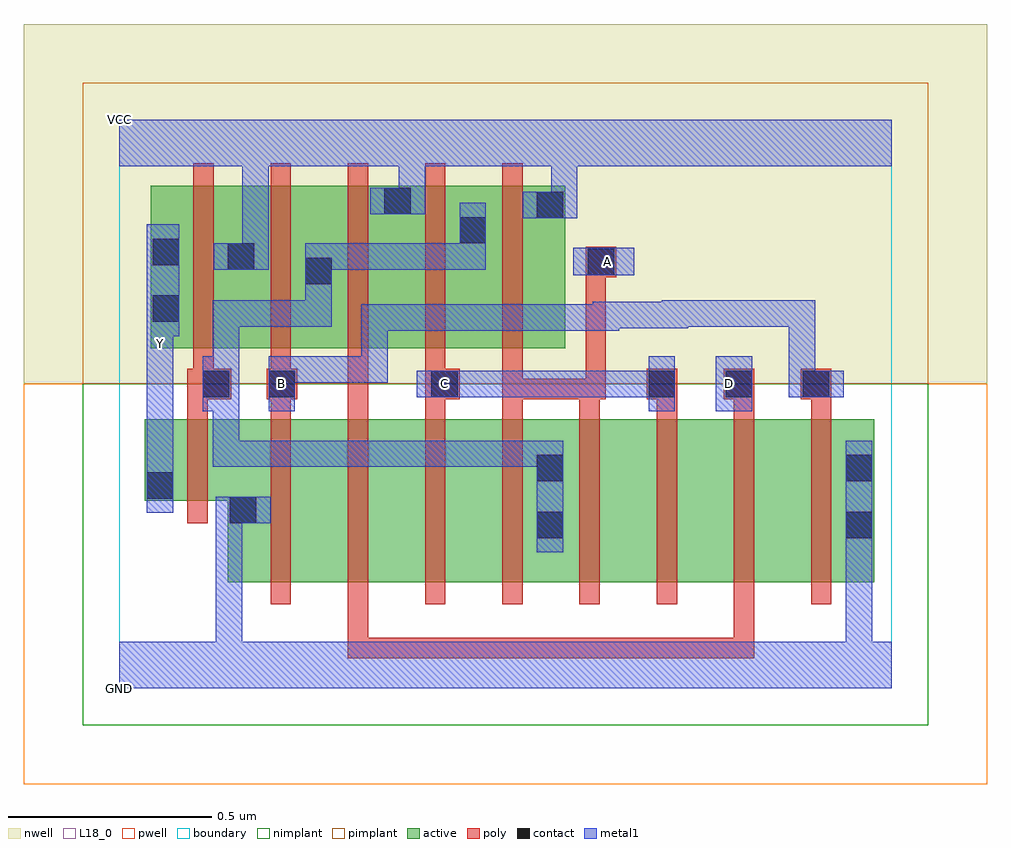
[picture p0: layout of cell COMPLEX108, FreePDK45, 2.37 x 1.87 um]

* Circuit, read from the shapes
.subckt COMPLEX108 A B C D GND VCC Y
M1 GND n1 Y VSUBS nfet w=0.2u l=0.05u
M2 n2 B GND VSUBS nfet w=0.4u l=0.05u
M3 n3 D n2 VSUBS nfet w=0.4u l=0.05u
M4 n4 C n3 VSUBS nfet w=0.4u l=0.05u
M5 n1 A n4 VSUBS nfet w=0.4u l=0.05u
M6 n5 A n1 VSUBS nfet w=0.4u l=0.05u
M7 n6 C n5 VSUBS nfet w=0.4u l=0.05u
M8 n7 D n6 VSUBS nfet w=0.4u l=0.05u
M9 GND B n7 VSUBS nfet w=0.4u l=0.05u
M10 VCC n1 Y n8 pfet w=0.4u l=0.05u
M11 n1 B VCC n8 pfet w=0.4u l=0.05u
M12 VCC D n1 n8 pfet w=0.4u l=0.05u
M13 n1 C VCC n8 pfet w=0.4u l=0.05u
M14 VCC A n1 n8 pfet w=0.4u l=0.05u
.ends

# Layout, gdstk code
import gdstk
lib = gdstk.Library(unit=1e-6, precision=1e-09)
def R(c, l, rs):  # rectangles x0, y0, x1, y1
    for r in rs: c.add(gdstk.rectangle(r[:2], r[2:], *l))
def A(c, l, x, y, w, h, nx, ny, dx, dy):  # array of equal rectangles
    R(c, l, [(x+i*dx, y+j*dy, x+i*dx+w, y+j*dy+h) for i in range(nx) for j in range(ny)])
active = (1, 0)
pwell = (2, 0)
nwell = (3, 0)
nimplant = (4, 0)
pimplant = (5, 0)
poly = (9, 0)
contact = (10, 0)
metal1 = (11, 0)
L18_0 = (18, 0)
boundary = (235, 0)

complex108 = lib.new_cell('COMPLEX108')
R(complex108, active, [(0.267,0.262,0.492,0.662), (0.267,0.262,0.342,0.597), (0.492,0.262,0.682,0.662), (0.682,0.262,0.872,0.662), (0.872,0.262,1.097,0.662), (1.022,0.262,1.252,0.662), (1.252,0.262,1.442,0.662), (1.442,0.262,1.632,0.662), (1.632,0.262,1.857,0.662), (1.022,0.295,1.097,0.617), (1.782,0.295,1.857,0.662), (0.062,0.462,0.342,0.662), (0.062,0.462,0.137,0.662), (0.077,0.837,0.337,1.237), (0.077,0.837,0.152,1.2), (0.262,0.837,0.527,1.237), (0.452,0.837,0.722,1.237), (0.452,0.837,0.527,1.2), (0.647,0.837,0.907,1.237), (0.832,0.837,1.097,1.237), (1.022,0.837,1.097,1.237), (0.262,0.907,0.337,1.205), (0.647,0.907,0.722,1.237), (0.832,0.907,0.907,1.2)])
R(complex108, pwell, [(-0.235,-0.235,2.135,0.75)])
R(complex108, nwell, [(-0.235,0.75,2.135,1.635)])
R(complex108, nimplant, [(-0.09,-0.09,1.99,0.75)])
R(complex108, pimplant, [(-0.09,0.75,1.99,1.49)])
A(complex108, poly, 0.372, 0.207, 0.05, 0.51, 8, 1, 0.19, 0)
A(complex108, poly, 0.372, 0.667, 0.05, 0.095, 8, 1, 0.19, 0)
A(complex108, poly, 1.297, 0.712, 0.075, 0.075, 3, 1, 0.19, 0)
A(complex108, poly, 0.182, 0.782, 0.05, 0.51, 5, 1, 0.19, 0)
R(complex108, poly, [(0.562,0.075,0.612,0.257), (0.562,0.075,0.612,0.125), (0.562,0.075,0.612,0.125), (0.562,0.075,0.612,0.125), (0.562,0.075,0.86,0.125), (0.81,0.075,0.86,0.125), (0.81,0.075,0.86,0.125), (0.81,0.075,0.86,0.125), (0.81,0.075,1.05,0.125), (1,0.075,1.05,0.125), (1,0.075,1.05,0.125), (1,0.075,1.05,0.125), (1,0.075,1.215,0.125), (1.165,0.075,1.215,0.125), (1.165,0.075,1.215,0.125), (1.165,0.075,1.215,0.125), (1.165,0.075,1.405,0.125), (1.355,0.075,1.405,0.125), (1.355,0.075,1.562,0.125), (1.512,0.075,1.562,0.257), (1.512,0.075,1.562,0.125), (1.512,0.075,1.562,0.125), (1.512,0.075,1.562,0.125), (0.167,0.407,0.217,0.717), (0.167,0.667,0.217,0.762), (0.167,0.712,0.275,0.787), (0.362,0.712,0.437,0.787), (0.562,0.712,0.612,0.762), (0.562,0.712,0.612,0.832), (0.752,0.712,0.837,0.787), (0.942,0.712,0.992,0.762), (0.942,0.712,0.992,0.762), (0.942,0.712,0.992,0.762), (0.942,0.712,1.182,0.762), (0.942,0.712,0.992,0.832), (1.132,0.712,1.197,0.762), (1.147,0.712,1.197,0.762), (1.147,0.712,1.197,0.762), (1.147,0.712,1.197,1.062), (0.182,0.737,0.232,0.832), (0.372,0.737,0.422,0.832), (0.752,0.737,0.802,0.832), (1.147,1.012,1.222,1.087)])
A(complex108, contact, 1.302, 0.717, 0.065, 0.065, 3, 1, 0.19, 0)
R(complex108, contact, [(1.027,0.37,1.092,0.435), (1.787,0.37,1.852,0.435), (0.272,0.407,0.337,0.472), (0.067,0.467,0.132,0.532), (1.027,0.51,1.092,0.575), (1.787,0.51,1.852,0.575), (0.205,0.717,0.27,0.782), (0.367,0.717,0.432,0.782), (0.767,0.717,0.832,0.782), (0.082,0.902,0.147,0.967), (0.457,0.995,0.522,1.06), (1.152,1.017,1.217,1.082), (0.267,1.03,0.332,1.095), (0.082,1.042,0.147,1.107), (0.837,1.095,0.902,1.16), (1.027,1.157,1.092,1.222), (0.652,1.167,0.717,1.232)])
R(complex108, metal1, [(0,0,1.9,0.115), (0.237,0.05,0.302,0.115), (0.237,0.05,0.302,0.115), (0.237,0.05,0.302,0.472), (1.787,0.05,1.852,0.4), (1.787,0.05,1.852,0.115), (1.787,0.05,1.852,0.115), (1.027,0.335,1.092,0.61), (1.787,0.335,1.852,0.61), (0.237,0.407,0.372,0.472), (0.067,0.432,0.132,0.567), (0.067,0.502,0.132,0.847), (0.23,0.545,0.295,0.61), (0.23,0.545,0.522,0.61), (0.23,0.545,0.295,0.817), (0.457,0.545,0.522,0.61), (0.457,0.545,0.522,0.61), (0.457,0.545,0.522,0.61), (0.457,0.545,0.66,0.61), (0.595,0.545,0.66,0.61), (0.595,0.545,0.73,0.61), (0.665,0.545,0.73,0.61), (0.665,0.545,0.907,0.61), (0.842,0.545,0.907,0.61), (0.842,0.545,0.907,0.61), (0.842,0.545,0.907,0.61), (0.842,0.545,1.045,0.61), (0.98,0.545,1.045,0.61), (0.98,0.545,1.092,0.61), (0.205,0.682,0.27,0.817), (0.367,0.682,0.432,0.817), (1.302,0.682,1.367,0.817), (1.467,0.682,1.557,0.817), (0.732,0.717,0.867,0.782), (0.802,0.717,0.867,0.782), (0.802,0.717,0.867,0.782), (0.802,0.717,1.045,0.782), (0.98,0.717,1.045,0.782), (0.98,0.717,1.045,0.782), (0.98,0.717,1.045,0.782), (0.98,0.717,1.23,0.782), (1.165,0.717,1.23,0.782), (1.165,0.717,1.332,0.782), (1.267,0.717,1.332,0.782), (1.267,0.717,1.367,0.782), (1.647,0.717,1.712,0.782), (1.647,0.717,1.712,0.782), (1.647,0.717,1.782,0.782), (1.647,0.717,1.712,0.955), (0.205,0.752,0.295,0.817), (0.23,0.752,0.295,0.817), (0.23,0.752,0.295,0.955), (0.367,0.752,0.432,0.817), (0.367,0.752,0.432,0.817), (0.367,0.752,0.66,0.817), (0.595,0.752,0.66,0.817), (0.595,0.752,0.66,0.817), (0.595,0.752,0.66,0.817), (0.595,0.752,0.66,0.945), (0.067,0.782,0.132,0.917), (0.067,0.852,0.132,0.932), (0.067,0.867,0.147,1.142), (0.595,0.88,0.66,0.945), (0.595,0.88,0.907,0.945), (0.842,0.88,0.907,0.945), (0.842,0.88,0.907,0.945), (0.842,0.88,0.907,0.945), (0.842,0.88,1.045,0.945), (0.98,0.88,1.045,0.945), (0.98,0.88,1.045,0.945), (0.98,0.88,1.045,0.945), (0.98,0.88,1.23,0.945), (1.165,0.88,1.23,0.945), (1.165,0.88,1.23,0.945), (1.165,0.88,1.23,0.952), (1.165,0.887,1.4,0.952), (1.335,0.887,1.4,0.955), (0.23,0.89,0.295,0.955), (0.23,0.89,0.522,0.955), (0.457,0.89,0.522,1.025), (1.335,0.89,1.575,0.955), (1.51,0.89,1.575,0.955), (1.51,0.89,1.575,0.955), (1.51,0.89,1.575,0.955), (1.51,0.89,1.712,0.955), (1.647,0.89,1.712,0.955), (0.457,0.96,0.522,1.025), (0.457,0.96,0.522,1.095), (1.117,1.017,1.267,1.085), (0.232,1.03,0.367,1.095), (0.302,1.03,0.367,1.35), (0.457,1.03,0.522,1.095), (0.457,1.03,0.522,1.095), (0.457,1.03,0.66,1.095), (0.595,1.03,0.66,1.095), (0.595,1.03,0.66,1.095), (0.595,1.03,0.66,1.095), (0.595,1.03,0.902,1.095), (0.837,1.03,0.902,1.125), (0.837,1.06,0.902,1.125), (0.837,1.06,0.902,1.195), (0.992,1.157,1.127,1.222), (1.062,1.157,1.127,1.35), (0.617,1.167,0.752,1.232), (0.687,1.167,0.752,1.35), (0,1.285,1.9,1.4)])
R(complex108, L18_0, [(0,0,1.9,0.115), (0.237,0.05,0.302,0.115), (0.237,0.05,0.302,0.115), (0.237,0.05,0.302,0.472), (1.787,0.05,1.852,0.115), (1.787,0.05,1.852,0.115), (1.787,0.05,1.852,0.4), (1.787,0.335,1.852,0.61), (0.237,0.407,0.372,0.472), (0.067,0.432,0.132,0.567), (0.067,0.502,0.132,0.847), (0.367,0.682,0.432,0.817), (1.302,0.682,1.367,0.817), (1.467,0.682,1.557,0.817), (0.367,0.717,0.432,0.782), (0.732,0.717,0.867,0.782), (0.767,0.717,0.832,0.782), (0.802,0.717,0.867,0.782), (0.802,0.717,0.867,0.782), (0.802,0.717,1.045,0.782), (0.98,0.717,1.045,0.782), (0.98,0.717,1.045,0.782), (0.98,0.717,1.045,0.782), (0.98,0.717,1.23,0.782), (1.165,0.717,1.23,0.782), (1.165,0.717,1.332,0.782), (1.267,0.717,1.332,0.782), (1.267,0.717,1.367,0.782), (1.467,0.717,1.532,0.782), (1.647,0.717,1.712,0.782), (1.647,0.717,1.712,0.782), (1.647,0.717,1.782,0.782), (1.647,0.717,1.712,0.955), (0.367,0.752,0.432,0.817), (0.367,0.752,0.432,0.817), (0.367,0.752,0.66,0.817), (0.595,0.752,0.66,0.817), (0.595,0.752,0.66,0.817), (0.595,0.752,0.66,0.817), (0.595,0.752,0.66,0.945), (0.067,0.782,0.132,0.917), (0.067,0.817,0.132,0.882), (0.067,0.852,0.132,0.932), (0.067,0.867,0.147,1.142), (0.595,0.88,0.66,0.945), (0.595,0.88,0.907,0.945), (0.842,0.88,0.907,0.945), (0.842,0.88,0.907,0.945), (0.842,0.88,0.907,0.945), (0.842,0.88,1.045,0.945), (0.98,0.88,1.045,0.945), (0.98,0.88,1.045,0.945), (0.98,0.88,1.045,0.945), (0.98,0.88,1.23,0.945), (1.165,0.88,1.23,0.945), (1.165,0.88,1.23,0.945), (1.165,0.88,1.23,0.952), (1.165,0.887,1.4,0.952), (1.335,0.887,1.4,0.955), (1.335,0.89,1.575,0.955), (1.51,0.89,1.575,0.955), (1.51,0.89,1.575,0.955), (1.51,0.89,1.575,0.955), (1.51,0.89,1.712,0.955), (1.647,0.89,1.712,0.955), (1.117,1.017,1.267,1.085), (1.167,1.017,1.232,1.082), (0.232,1.03,0.367,1.095), (0.302,1.03,0.367,1.35), (0.992,1.157,1.127,1.222), (1.062,1.157,1.127,1.35), (0.617,1.167,0.752,1.232), (0.687,1.167,0.752,1.35), (0,1.285,1.9,1.4)])
R(complex108, boundary, [(0,0,1.9,1.4)])
complex108.add(gdstk.Label('A', (1.2,1.05), layer=11, texttype=0))
complex108.add(gdstk.Label('B', (0.4,0.75), layer=11, texttype=0))
complex108.add(gdstk.Label('C', (0.8,0.75), layer=11, texttype=0))
complex108.add(gdstk.Label('D', (1.5,0.75), layer=11, texttype=0))
complex108.add(gdstk.Label('Y', (0.1,0.85), layer=11, texttype=0))
complex108.add(gdstk.Label('VCC', (0,1.4), layer=11, texttype=0))
complex108.add(gdstk.Label('GND', (0,0), layer=11, texttype=0))

lib.write_gds('COMPLEX108.gds')
